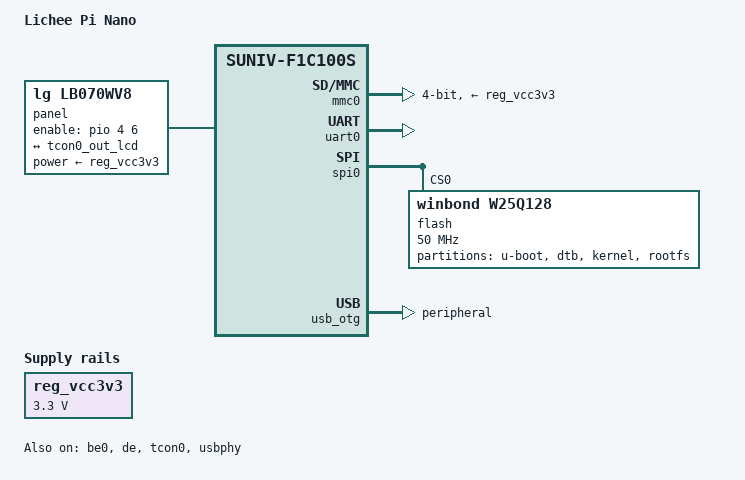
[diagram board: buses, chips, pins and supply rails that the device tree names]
// SPDX-License-Identifier: (GPL-2.0+ OR X11)
/*
 * Copyright 2018 Icenowy Zheng <icenowy@aosc.io>
 */

/dts-v1/;
#include "suniv-f1c100s.dtsi"
#include <dt-bindings/gpio/gpio.h>

/ {
	model = "Lichee Pi Nano";
	compatible = "licheepi,licheepi-nano", "allwinner,suniv-f1c100s";


	aliases {
		serial0 = &uart0;
	};


	chosen {
		stdout-path = "serial0:115200n8";
	};

	panel: panel {
		compatible = "lg,lb070wv8", "simple-panel";
		#address-cells = <1>;
		#size-cells = <0>;
		enable-gpios = <&pio 4 6 GPIO_ACTIVE_HIGH>;
		power-supply = <&reg_vcc3v3>;

 		port@0 {
			reg = <0>;
			#address-cells = <1>;
			#size-cells = <0>;

 			panel_input: endpoint@0 {
				reg = <0>;
				remote-endpoint = <&tcon0_out_lcd>;
			};
		};
	};

	reg_vcc3v3: vcc3v3 {
		compatible = "regulator-fixed";
		regulator-name = "vcc3v3";
		regulator-min-microvolt = <3300000>;
		regulator-max-microvolt = <3300000>;
	};
};

&be0 {
	status = "okay";
};

&de {
	status = "okay";
};

&tcon0 {
	pinctrl-names = "default";
	pinctrl-0 = <&lcd_rgb666_pins>;
	status = "okay";
};

&tcon0_out {
	tcon0_out_lcd: endpoint@0 {
		reg = <0>;
		remote-endpoint = <&panel_input>;
	};
};

&mmc0 {
	vmmc-supply = <&reg_vcc3v3>;
	bus-width = <4>;
	broken-cd;
	status = "okay";
};
&otg_sram {
	status = "okay";
};
&uart0 {
	pinctrl-names = "default";
	pinctrl-0 = <&uart0_pe_pins>;
	status = "okay";
};
&spi0 {
  pinctrl-names = "default";
  pinctrl-0 = <&spi0_pc_pins>;
  status = "okay";
  flash@0 {
    #address-cells = <1>;
    #size-cells = <1>;
    compatible = "winbond,w25q128", "jedec,spi-nor";
    reg = <0>;
    spi-max-frequency = <50000000>;
    partitions {
      compatible = "fixed-partitions";
      #address-cells = <1>;
      #size-cells = <1>;

      partition@0 {
        label = "u-boot";
        reg = <0x000000 0x100000>;
        read-only;
      };

      partition@100000 {
        label = "dtb";
        reg = <0x100000 0x10000>;
        read-only;
      };

      partition@110000 {
        label = "kernel";
        reg = <0x110000 0x4f0000>;
        read-only;
      };

      partition@600000 {
        label = "rootfs";
        reg = <0x600000 0xA00000>;
      };
    };
  };
};

&usb_otg {
	dr_mode = "peripheral";	// peripheral | otg | host
	status = "okay";
};
&usbphy {
	usb0_id_det-gpio = <&pio 4 2 GPIO_ACTIVE_HIGH>; /* PE2 */
	status = "okay";
};
